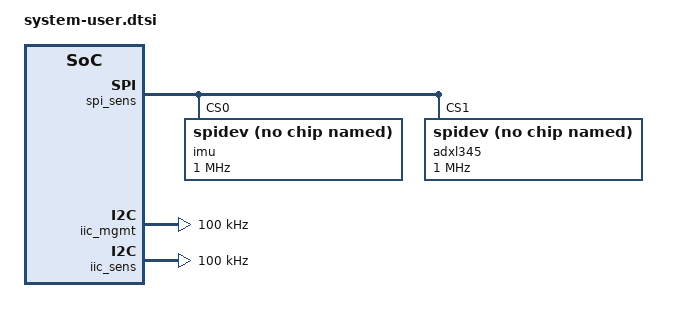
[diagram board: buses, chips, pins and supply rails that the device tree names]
/*
 * Carrier-board additions for project-spec/meta-user/recipes-bsp/device-tree/files/system-user.dtsi.
 * Merge into the vendor's existing system-user.dtsi (keep its own content).
 *
 * 1. carrier_ctrl and the stereo matcher as UIO: copy
 *    ax7010/pl/bd/generated/carrier_generated.dtsi and stereo_generated.dtsi
 *    (written by add_carrier.tcl / add_stereo.tcl with the real addresses and
 *    IRQs) next to this file, add them to SRC_URI in device-tree.bbappend and
 *    include them below. Both nodes carry the compatible "vibmon,uio", so one
 *    binding serves both. Append to the kernel command line:
 *        uio_pdrv_genirq.of_id=vibmon,uio
 *    stereo_generated.dtsi also reserves the DMA window (1 MiB at 0x1F000000,
 *    no-map); the stereo UIO node maps it uncached as map2.
 * 2. The AXI IIC / UART16550 / Quad SPI nodes come from the XSA (DTG); the
 *    labels below are the block-design instance names used by add_carrier.tcl.
 * 3. The PDM microphone receiver (pdm_mic_0, 0x44030000, no interrupt) needs
 *    no node: vibmond maps its registers through /dev/mem.
 */
/include/ "carrier_generated.dtsi"
/include/ "stereo_generated.dtsi"

/* Two spidev nodes: chip select 0 = LSM6DSV (mode 0), 1 = ADXL345 (mode 3).
 * vibmond sets the mode per device; spi-xilinx applies it while both
 * selects are high. "rohm,dh2228fv" is a spidev-bound compatible. */
&spi_sens {
	#address-cells = <1>;
	#size-cells = <0>;
	imu@0 {
		compatible = "rohm,dh2228fv";
		reg = <0>;
		spi-max-frequency = <1000000>;
	};
	adxl345@1 {
		compatible = "rohm,dh2228fv";
		reg = <1>;
		spi-max-frequency = <1000000>;
		spi-cpol;
		spi-cpha;
	};
};

/* I2C buses keep the controller nodes from DTG; no child devices are bound in
 * the kernel because vibmond drives TCA9555/INA226/DS3231/SHT40/VL53L1X
 * through /dev/i2c-N (located by AXI base address, not by bus number). */
&iic_mgmt {
	clock-frequency = <100000>;
};
&iic_sens {
	clock-frequency = <100000>;
};
